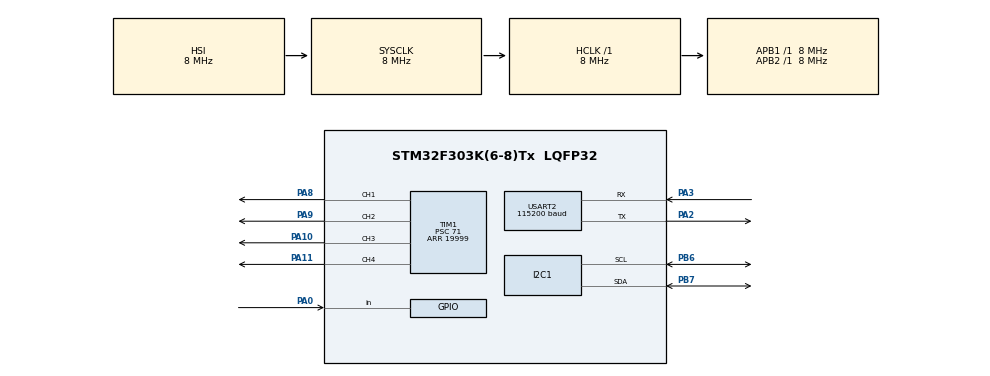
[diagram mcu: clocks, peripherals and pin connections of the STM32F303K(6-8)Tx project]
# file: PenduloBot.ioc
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I2C1.Timing=0x00201D2B
Mcu.Family=STM32F3
Mcu.Name=STM32F303K(6-8)Tx
Mcu.Package=LQFP32
NVIC.PriorityGroup=NVIC_PRIORITYGROUP_4
PA0.Signal=GPIO_Input
PA10.Signal=S_TIM1_CH3
PA11.Signal=S_TIM1_CH4
PA2.Mode=Asynchronous
PA2.Signal=USART2_TX
PA3.Mode=Asynchronous
PA3.Signal=USART2_RX
PA4.Signal=ADC2_IN1
PA8.Signal=S_TIM1_CH1
PA9.Signal=S_TIM1_CH2
PB6.Mode=I2C
PB6.Signal=I2C1_SCL
PB7.Mode=I2C
PB7.Signal=I2C1_SDA
ProjectManager.HeapSize=0x200
ProjectManager.StackSize=0x400
ProjectManager.TargetToolchain=STM32CubeIDE
RCC.AHBFreq_Value=8000000
RCC.APB1Freq_Value=8000000
RCC.APB2Freq_Value=8000000
RCC.CortexFreq_Value=8000000
RCC.HSE_VALUE=8000000
RCC.HSI_VALUE=8000000
RCC.PLLMUL=RCC_PLL_MUL4
RCC.SYSCLKFreq_VALUE=8000000
SH.S_TIM1_CH1.0=TIM1_CH1,PWM Generation1 CH1
SH.S_TIM1_CH2.0=TIM1_CH2,PWM Generation2 CH2
SH.S_TIM1_CH3.0=TIM1_CH3,PWM Generation3 CH3
SH.S_TIM1_CH4.0=TIM1_CH4,PWM Generation4 CH4
TIM1.AutoReloadPreload=TIM_AUTORELOAD_PRELOAD_ENABLE
TIM1.Channel-PWM\ Generation1\ CH1=TIM_CHANNEL_1
TIM1.Channel-PWM\ Generation2\ CH2=TIM_CHANNEL_2
TIM1.Channel-PWM\ Generation3\ CH3=TIM_CHANNEL_3
TIM1.Channel-PWM\ Generation4\ CH4=TIM_CHANNEL_4
TIM1.Period=19999
TIM1.Prescaler=71
USART2.BaudRate=115200
USART2.VirtualMode-Asynchronous=VM_ASYNC
board=custom

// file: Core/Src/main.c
/* USER CODE BEGIN Header */
/**
  ******************************************************************************
  * @file           : main.c
  * @brief          : Main program body
  ******************************************************************************
  * @attention
  *
  * Copyright (c) 2025 STMicroelectronics.
  * All rights reserved.
  *
  * This software is licensed under terms that can be found in the LICENSE file
  * in the root directory of this software component.
  * If no LICENSE file comes with this software, it is provided AS-IS.
  *
  ******************************************************************************
  */
/* USER CODE END Header */
#include "main.h"

/* USER CODE BEGIN Includes */
#include "stdio.h"
#include "stdlib.h"
#include "string.h"
#include "stdint.h"
#include "mpu6050.h"
#include "lqr.h"

/* USER CODE END Includes */

/* USER CODE BEGIN PD */

#define 	EXP_FILTER_ALPHA   	32
#define 	MAX_16_BIT_VALUE   	65535
#define 	Z_AXIS_SETPOINT    	32768
#define    	PROPORTIONAL_GAIN   2

#define FILTER_GYRO_ONLY

/* USER CODE END PD */

I2C_HandleTypeDef hi2c1;

TIM_HandleTypeDef htim1;

UART_HandleTypeDef huart2;

/* USER CODE BEGIN PV */

MPU6050_Data sensorData;
MPU6050_Data filteredSensorData;

// Motor actuator values; 100% duty cycle = zero speed, 0% duty cycle = highest speed
// Motor 1, Direction A and B;
uint16_t   M1_A = 0;
uint16_t   M1_B = 0;

// Motor 1, Direction A and B
uint16_t   M2_A = 0;
uint16_t   M2_B = 0;

/* USER CODE END PV */

void SystemClock_Config(void);
static void MX_GPIO_Init(void);
static void MX_TIM1_Init(void);
static void MX_USART2_UART_Init(void);
static void MX_I2C1_Init(void);

/* USER CODE BEGIN 0 */

void ExponentialFilter(MPU6050_Data *sensorValue)
{
	uint32_t temp;
	/* Exponential filter formula for 16-bit unsigned intergers:
	 *   output = ( ( alpha*pre_output ) + ( (65535-alpha)*input) ) )/ 65535;
	 * where alpha = smoothing factor, close to 65535 = strong smoothing, but slow
	 * response, and close to 0 = weak smoothing, but fast response.
	 */

#ifndef FILTER_GYRO_ONLY
	// Accelration_X
	temp = (uint32_t) EXP_FILTER_ALPHA * filteredSensorData.Accel_X+(uint32_t)(MAX_16_BIT_VALUE-EXP_FILTER_ALPHA*sensorValue->Accel_X);
    filteredSensorData.Accel_X = temp / MAX_16_BIT_VALUE;

	// Accelration_Y
	temp = (uint32_t) EXP_FILTER_ALPHA * filteredSensorData.Accel_Y+(uint32_t)(MAX_16_BIT_VALUE-EXP_FILTER_ALPHA*sensorValue->Accel_Y);
    filteredSensorData.Accel_Y = temp / MAX_16_BIT_VALUE;

	// Accelration_Z
	temp = (uint32_t) EXP_FILTER_ALPHA * filteredSensorData.Accel_Z+(uint32_t)(MAX_16_BIT_VALUE-EXP_FILTER_ALPHA*sensorValue->Accel_Z);
    filteredSensorData.Accel_Z = temp / MAX_16_BIT_VALUE;
#else

    filteredSensorData.Accel_X =  sensorValue->Accel_X;

    filteredSensorData.Accel_Y =  sensorValue->Accel_Y;

    filteredSensorData.Accel_Z =  sensorValue->Accel_Z;

#endif
	// Gyro_X
	temp = (uint32_t) EXP_FILTER_ALPHA * filteredSensorData.Gyro_X+(uint32_t)(MAX_16_BIT_VALUE-EXP_FILTER_ALPHA*sensorValue->Gyro_X);
    filteredSensorData.Gyro_X = temp / MAX_16_BIT_VALUE;

	// Gyro_Y
	temp = (uint32_t) EXP_FILTER_ALPHA * filteredSensorData.Gyro_Y+(uint32_t)(MAX_16_BIT_VALUE-EXP_FILTER_ALPHA*sensorValue->Gyro_Y);
    filteredSensorData.Gyro_Y = temp / MAX_16_BIT_VALUE;

	// Gyro_Z
	temp = (uint32_t) EXP_FILTER_ALPHA * filteredSensorData.Gyro_Z+(uint32_t)(MAX_16_BIT_VALUE-EXP_FILTER_ALPHA*sensorValue->Gyro_Z);
    filteredSensorData.Gyro_Z = temp / MAX_16_BIT_VALUE;
}

/* USER CODE END 0 */

int main(void)
{

  /* MCU Configuration--------------------------------------------------------*/

  /* Reset of all peripherals, Initializes the Flash interface and the Systick. */
  HAL_Init();

  /* Configure the system clock */
  SystemClock_Config();

  /* Initialize all configured peripherals */
  MX_GPIO_Init();
  MX_TIM1_Init();
  MX_USART2_UART_Init();
  MX_I2C1_Init();

  /* USER CODE BEGIN 2 */

  // Initialize MPU-6050 IMU chip

  HAL_UART_Transmit(&huart2, (uint8_t*)"Starting MPU6050 Init...\r\n", strlen("Starting MPU6050 Init...\r\n"), HAL_MAX_DELAY);

  if (MPU6050_Init() == HAL_OK)
  {
      HAL_UART_Transmit(&huart2, (uint8_t*)"MPU6050 Init done!\r\n", strlen("MPU6050 Init done!\r\n"), HAL_MAX_DELAY);
  }
  else
  {
      HAL_UART_Transmit(&huart2, (uint8_t*)"MPU6050 Init FAILED!\r\n", strlen("MPU6050 Init FAILED!\r\n"), HAL_MAX_DELAY);
  }

  HAL_TIM_PWM_Start(&htim1, TIM_CHANNEL_1);
  HAL_TIM_PWM_Start(&htim1, TIM_CHANNEL_2);
  HAL_TIM_PWM_Start(&htim1, TIM_CHANNEL_3);
  HAL_TIM_PWM_Start(&htim1, TIM_CHANNEL_4);

  HAL_UART_Transmit(&huart2, (uint8_t*)"System Initialized. Hello World!\r\n", strlen("System Initialized. Hello World!\r\n"), HAL_MAX_DELAY);

  /* USER CODE END 2 */

  /* Infinite loop */
  /* USER CODE BEGIN WHILE */
  while (1)
  {
	  char       printString[256] = {0};
	  int32_t    errorValue = 0;         // use integer value instead of unsigned, since the error value can be positive or negative.

	  uint16_t   actuation = 0;
	  uint16_t   direction = 0;

	  // Read inputs from the sensor (gyroscope only), and print the values on UART_2
	  MPU6050_Read_All(&sensorData);         // Read data
	  ExponentialFilter(&sensorData);        // Filter data

	  // formulate the string with three gyroscope axis, and print it.
	  sprintf(printString, "X: 0x%04x, Y: 0x%04x, Z: 0x%04x\r\n", sensorData.Gyro_X, sensorData.Gyro_Y, sensorData.Gyro_Z);
      HAL_UART_Transmit(&huart2, (uint8_t*)printString, strlen(printString), HAL_MAX_DELAY);

      // Calculate error from the set point (middle of Z-axis, since the pendulum robot moves and tries to
      // balance on Z-axis (perpendicular to the MPU-6050 PCB plane). For now, keep both motors at the same
      // speed/ direction.

      // === P CONTROL BLOCK ===
      errorValue = Z_AXIS_SETPOINT - filteredSensorData.Gyro_Z;

	  actuation = PROPORTIONAL_GAIN * abs(errorValue);

      if(errorValue >= 0)
      {
    	  direction = 0;
      }
      else
      {
    	  direction = 1;
      }
      // === END P CONTROL BLOCK ===

      /*
        // === LQR CONTROL BLOCK ===

        // Estimate angle (from gyro only for now)
        float angle_rad = estimate_tilt_angle(filteredSensorData.Gyro_Y);

        // Convert gyro to rad/s
        float gyro_y_rad_s = ((float)filteredSensorData.Gyro_Y / 131.0f) * (M_PI / 180.0f);

        // Call LQR
        uint16_t actuation = LQR_Controller(angle_rad, gyro_y_rad_s);

        // === END LQR CONTROL BLOCK ===
      */

      if(0 == direction)
      {
    	  M1_A = MAX_16_BIT_VALUE - actuation;
          M1_B = MAX_16_BIT_VALUE;
      	  M2_A = MAX_16_BIT_VALUE - actuation;
          M2_B = MAX_16_BIT_VALUE;
      }
      else
      {
    	  M1_A = MAX_16_BIT_VALUE;
          M1_B = MAX_16_BIT_VALUE - actuation;
      	  M2_A = MAX_16_BIT_VALUE;
          M2_B = MAX_16_BIT_VALUE - actuation;
      }

      // Set the timers/PWM connected to the motors
      //         M1_A: D9  = PA_8  = already connected to Channel 1, Timer 1
      //         M1_B: D10 = PA_11 = already connected to Channel 4, Timer 1
      //         M2_A: D5  = PB_6  = has to be jumpered to Channel 2, Timer 1 = PA9  = D1
      //         M2_B: D6  = PB_1  = has to be jumpered to Channel 3, Timer 1 = PA10 = D2

      // On Nucleo-F303K, you will have to bend pins D5 nd D6, so that these don't connect to M2A and M2B. Then, you'll have to
      //       connect the output of Timer 1, channel 2 and 3 to D1 (PA9) and D2 (PA10) using jumper wires.
      __HAL_TIM_SET_COMPARE(&htim1, TIM_CHANNEL_1, M1_A);
      __HAL_TIM_SET_COMPARE(&htim1, TIM_CHANNEL_4, M1_B);
      __HAL_TIM_SET_COMPARE(&htim1, TIM_CHANNEL_2, M2_A);
      __HAL_TIM_SET_COMPARE(&htim1, TIM_CHANNEL_3, M2_B);

      HAL_Delay(1000);

    /* USER CODE END WHILE */

  }
}

void SystemClock_Config(void)
{
  RCC_OscInitTypeDef RCC_OscInitStruct = {0};
  RCC_ClkInitTypeDef RCC_ClkInitStruct = {0};
  RCC_PeriphCLKInitTypeDef PeriphClkInit = {0};

  /** Initializes the RCC Oscillators according to the specified parameters
  * in the RCC_OscInitTypeDef structure.
  */
  RCC_OscInitStruct.OscillatorType = RCC_OSCILLATORTYPE_HSI;
  RCC_OscInitStruct.HSIState = RCC_HSI_ON;
  RCC_OscInitStruct.HSICalibrationValue = RCC_HSICALIBRATION_DEFAULT;
  RCC_OscInitStruct.PLL.PLLState = RCC_PLL_NONE;
  if (HAL_RCC_OscConfig(&RCC_OscInitStruct) != HAL_OK)
  {
    Error_Handler();
  }

  /** Initializes the CPU, AHB and APB buses clocks
  */
  RCC_ClkInitStruct.ClockType = RCC_CLOCKTYPE_HCLK|RCC_CLOCKTYPE_SYSCLK
                              |RCC_CLOCKTYPE_PCLK1|RCC_CLOCKTYPE_PCLK2;
  RCC_ClkInitStruct.SYSCLKSource = RCC_SYSCLKSOURCE_HSI;
  RCC_ClkInitStruct.AHBCLKDivider = RCC_SYSCLK_DIV1;
  RCC_ClkInitStruct.APB1CLKDivider = RCC_HCLK_DIV1;
  RCC_ClkInitStruct.APB2CLKDivider = RCC_HCLK_DIV1;

  if (HAL_RCC_ClockConfig(&RCC_ClkInitStruct, FLASH_LATENCY_0) != HAL_OK)
  {
    Error_Handler();
  }
  PeriphClkInit.PeriphClockSelection = RCC_PERIPHCLK_I2C1|RCC_PERIPHCLK_TIM1;
  PeriphClkInit.I2c1ClockSelection = RCC_I2C1CLKSOURCE_HSI;
  PeriphClkInit.Tim1ClockSelection = RCC_TIM1CLK_HCLK;
  if (HAL_RCCEx_PeriphCLKConfig(&PeriphClkInit) != HAL_OK)
  {
    Error_Handler();
  }
}

static void MX_I2C1_Init(void)
{

  hi2c1.Instance = I2C1;
  hi2c1.Init.Timing = 0x00201D2B;
  hi2c1.Init.OwnAddress1 = 0;
  hi2c1.Init.AddressingMode = I2C_ADDRESSINGMODE_7BIT;
  hi2c1.Init.DualAddressMode = I2C_DUALADDRESS_DISABLE;
  hi2c1.Init.OwnAddress2 = 0;
  hi2c1.Init.OwnAddress2Masks = I2C_OA2_NOMASK;
  hi2c1.Init.GeneralCallMode = I2C_GENERALCALL_DISABLE;
  hi2c1.Init.NoStretchMode = I2C_NOSTRETCH_DISABLE;
  if (HAL_I2C_Init(&hi2c1) != HAL_OK)
  {
    Error_Handler();
  }

  /** Configure Analogue filter
  */
  if (HAL_I2CEx_ConfigAnalogFilter(&hi2c1, I2C_ANALOGFILTER_ENABLE) != HAL_OK)
  {
    Error_Handler();
  }

  /** Configure Digital filter
  */
  if (HAL_I2CEx_ConfigDigitalFilter(&hi2c1, 0) != HAL_OK)
  {
    Error_Handler();
  }

}

static void MX_TIM1_Init(void)
{

  TIM_MasterConfigTypeDef sMasterConfig = {0};
  TIM_OC_InitTypeDef sConfigOC = {0};
  TIM_BreakDeadTimeConfigTypeDef sBreakDeadTimeConfig = {0};

  htim1.Instance = TIM1;
  htim1.Init.Prescaler = 71;
  htim1.Init.CounterMode = TIM_COUNTERMODE_UP;
  htim1.Init.Period = 19999;
  htim1.Init.ClockDivision = TIM_CLOCKDIVISION_DIV1;
  htim1.Init.RepetitionCounter = 0;
  htim1.Init.AutoReloadPreload = TIM_AUTORELOAD_PRELOAD_ENABLE;
  if (HAL_TIM_PWM_Init(&htim1) != HAL_OK)
  {
    Error_Handler();
  }
  sMasterConfig.MasterOutputTrigger = TIM_TRGO_RESET;
  sMasterConfig.MasterOutputTrigger2 = TIM_TRGO2_RESET;
  sMasterConfig.MasterSlaveMode = TIM_MASTERSLAVEMODE_DISABLE;
  if (HAL_TIMEx_MasterConfigSynchronization(&htim1, &sMasterConfig) != HAL_OK)
  {
    Error_Handler();
  }
  sConfigOC.OCMode = TIM_OCMODE_PWM1;
  sConfigOC.Pulse = 0;
  sConfigOC.OCPolarity = TIM_OCPOLARITY_HIGH;
  sConfigOC.OCNPolarity = TIM_OCNPOLARITY_HIGH;
  sConfigOC.OCFastMode = TIM_OCFAST_DISABLE;
  sConfigOC.OCIdleState = TIM_OCIDLESTATE_RESET;
  sConfigOC.OCNIdleState = TIM_OCNIDLESTATE_RESET;
  if (HAL_TIM_PWM_ConfigChannel(&htim1, &sConfigOC, TIM_CHANNEL_1) != HAL_OK)
  {
    Error_Handler();
  }
  if (HAL_TIM_PWM_ConfigChannel(&htim1, &sConfigOC, TIM_CHANNEL_2) != HAL_OK)
  {
    Error_Handler();
  }
  if (HAL_TIM_PWM_ConfigChannel(&htim1, &sConfigOC, TIM_CHANNEL_3) != HAL_OK)
  {
    Error_Handler();
  }
  if (HAL_TIM_PWM_ConfigChannel(&htim1, &sConfigOC, TIM_CHANNEL_4) != HAL_OK)
  {
    Error_Handler();
  }
  sBreakDeadTimeConfig.OffStateRunMode = TIM_OSSR_DISABLE;
  sBreakDeadTimeConfig.OffStateIDLEMode = TIM_OSSI_DISABLE;
  sBreakDeadTimeConfig.LockLevel = TIM_LOCKLEVEL_OFF;
  sBreakDeadTimeConfig.DeadTime = 0;
  sBreakDeadTimeConfig.BreakState = TIM_BREAK_DISABLE;
  sBreakDeadTimeConfig.BreakPolarity = TIM_BREAKPOLARITY_HIGH;
  sBreakDeadTimeConfig.BreakFilter = 0;
  sBreakDeadTimeConfig.Break2State = TIM_BREAK2_DISABLE;
  sBreakDeadTimeConfig.Break2Polarity = TIM_BREAK2POLARITY_HIGH;
  sBreakDeadTimeConfig.Break2Filter = 0;
  sBreakDeadTimeConfig.AutomaticOutput = TIM_AUTOMATICOUTPUT_DISABLE;
  if (HAL_TIMEx_ConfigBreakDeadTime(&htim1, &sBreakDeadTimeConfig) != HAL_OK)
  {
    Error_Handler();
  }
  HAL_TIM_MspPostInit(&htim1);

}

static void MX_USART2_UART_Init(void)
{

  huart2.Instance = USART2;
  huart2.Init.BaudRate = 115200;
  huart2.Init.WordLength = UART_WORDLENGTH_8B;
  huart2.Init.StopBits = UART_STOPBITS_1;
  huart2.Init.Parity = UART_PARITY_NONE;
  huart2.Init.Mode = UART_MODE_TX_RX;
  huart2.Init.HwFlowCtl = UART_HWCONTROL_NONE;
  huart2.Init.OverSampling = UART_OVERSAMPLING_16;
  huart2.Init.OneBitSampling = UART_ONE_BIT_SAMPLE_DISABLE;
  huart2.AdvancedInit.AdvFeatureInit = UART_ADVFEATURE_NO_INIT;
  if (HAL_UART_Init(&huart2) != HAL_OK)
  {
    Error_Handler();
  }

}

static void MX_GPIO_Init(void)
{
  GPIO_InitTypeDef GPIO_InitStruct = {0};

  /* GPIO Ports Clock Enable */
  __HAL_RCC_GPIOA_CLK_ENABLE();
  __HAL_RCC_GPIOB_CLK_ENABLE();

  /*Configure GPIO pin : PA0 */
  GPIO_InitStruct.Pin = GPIO_PIN_0;
  GPIO_InitStruct.Mode = GPIO_MODE_INPUT;
  GPIO_InitStruct.Pull = GPIO_NOPULL;
  HAL_GPIO_Init(GPIOA, &GPIO_InitStruct);

  /*Configure GPIO pin : PA4 */
  GPIO_InitStruct.Pin = GPIO_PIN_4;
  GPIO_InitStruct.Mode = GPIO_MODE_ANALOG;
  GPIO_InitStruct.Pull = GPIO_NOPULL;
  HAL_GPIO_Init(GPIOA, &GPIO_InitStruct);

}

void Error_Handler(void)
{
  /* USER CODE BEGIN Error_Handler_Debug */
  /* User can add his own implementation to report the HAL error return state */
  __disable_irq();
  while (1)
  {
	  HAL_UART_Transmit(&huart2, (uint8_t*)"Hello World!\r\n", strlen("Hello World!\r\n"), HAL_MAX_DELAY);
	  HAL_Delay(1000); // wait 1 second

  }
  /* USER CODE END Error_Handler_Debug */
}
